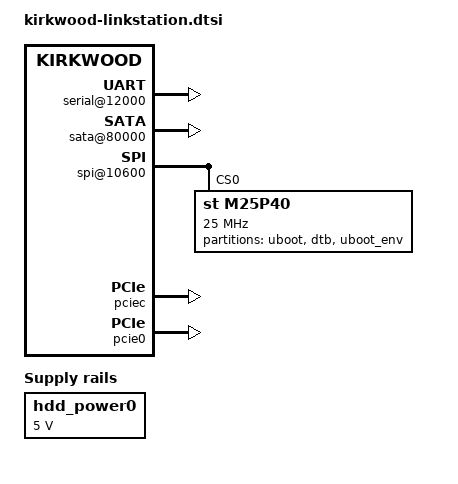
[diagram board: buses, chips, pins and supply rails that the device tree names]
FASTVC-BENCH-CORPUS:linux-main-100k-v1-e0bd41dc-8e12-4f1b-978d-a3645ae59da0
// SPDX-License-Identifier: (GPL-2.0+ OR MIT)
/*
 * Device Tree common file for kirkwood based Buffalo Linkstation
 *
 * Copyright (C) 2015, 2016
 * Roger Shimizu <rogershimizu@gmail.com>
 */

/ {
	chosen {
		bootargs = "console=ttyS0,115200n8 earlyprintk";
		stdout-path = &uart0;
	};

	ocp@f1000000 {
		pinctrl: pin-controller@10000 {
/* bench 19626.0.0 aab9ea4ece94 */
/* bench 19626.0.1 8a44a2ff989a */
/* bench 19626.0.2 b9a7bfb4d1c4 */
/* bench 19626.0.3 061c6ead9c01 */
/* bench 19626.0.4 f87bdc47531e */
/* bench 19626.0.5 6b605917b787 */
/* bench 19626.0.6 fa2251cfc9b2 */
/* bench 19626.0.7 679032252fd5 */
/* bench 19626.0.8 8103d15c40f4 */
/* bench 19626.0.9 076efb7b93a8 */
/* bench 19626.0.10 395176bb84d7 */
/* bench 19626.0.11 a3f1eb2f57df */
/* bench 19626.0.12 d7c3f6912321 */
/* bench 19626.0.13 58661adf6a8e */
			};
			pmx_usb_vbus: pmx-usb-vbus {
				marvell,function = "gpio";
			};
			pmx_led_alarm: pmx-led-alarm {
				marvell,function = "gpio";
			};
			pmx_led_function_red: pmx-led-function-red {
				marvell,function = "gpio";
			};
			pmx_led_function_blue: pmx-led-function-blue {
				marvell,function = "gpio";
			};
			pmx_led_info: pmx-led-info {
				marvell,function = "gpio";
			};
			pmx_led_power: pmx-led-power {
				marvell,function = "gpio";
			};
			pmx_button_function: pmx-button-function {
				marvell,function = "gpio";
			};
			pmx_power_switch: pmx-power-switch {
				marvell,function = "gpio";
			};
			pmx_power_auto_switch: pmx-power-auto-switch {
				marvell,function = "gpio";
			};
		};

		serial@12000 {
			status = "okay";
		};

		sata@80000 {
			status = "okay";
			nr-ports = <1>;
		};

		spi@10600 {
			status = "okay";

			m25p40@0 {
				#address-cells = <1>;
				#size-cells = <1>;
				compatible = "st,m25p40", "jedec,spi-nor";
				reg = <0>;
				spi-max-frequency = <25000000>;
				mode = <0>;

				partition@0 {
					reg = <0x0 0x60000>;
					label = "uboot";
					read-only;
				};

				partition@60000 {
					reg = <0x60000 0x10000>;
					label = "dtb";
					read-only;
				};

				partition@70000 {
					reg = <0x70000 0x10000>;
					label = "uboot_env";
				};
			};
		};
	};

	gpio_keys {
		compatible = "gpio-keys";
		#address-cells = <1>;
		#size-cells = <0>;
		pinctrl-0 = <&pmx_button_function &pmx_power_switch
			     &pmx_power_auto_switch>;
		pinctrl-names = "default";

		function-button {
/* bench 1093.0.0 310c4a68eb93 */
/* bench 1093.0.1 443a613c7a86 */
/* bench 1093.0.2 0c14cf7ae6df */
/* bench 1093.0.3 e83fa5b75bbb */
/* bench 1093.0.4 0676b668f4ab */
/* bench 1093.0.5 df704e00a1f0 */
/* bench 1093.0.6 2b9fd4a03bed */
/* bench 1093.0.7 16ab9f1973bb */
/* bench 1093.0.8 84ac7af5c0d8 */
/* bench 1093.0.9 40295a9109be */
/* bench 1093.0.10 3300f3643640 */
/* bench 1093.0.11 885d69b46162 */
/* bench 1093.0.12 dff566d840bc */
/* bench 1093.0.13 0c66c8c0c49f */
		};

		power-on-switch {
			label = "Power-on Switch";
			linux,code = <KEY_RESERVED>;
			linux,input-type = <5>;
		};

		power-auto-switch {
			label = "Power-auto Switch";
			linux,code = <KEY_ESC>;
			linux,input-type = <5>;
		};
	};

	gpio_leds {
		compatible = "gpio-leds";
		pinctrl-0 = <&pmx_led_function_red &pmx_led_alarm
			     &pmx_led_info &pmx_led_power
			     &pmx_led_function_blue>;
		pinctrl-names = "default";
	};

	restart_poweroff {
		compatible = "restart-poweroff";
	};

	regulators {
		compatible = "simple-bus";
		#address-cells = <1>;
		#size-cells = <0>;
		pinctrl-0 = <&pmx_power_hdd0 &pmx_usb_vbus>;
		pinctrl-names = "default";

		usb_power: regulator@1 {
/* bench 21315.2.0 f85a15827642 */
/* bench 21315.2.1 af9ecd25e69f */
/* bench 21315.2.2 a1ae8e0177f0 */
/* bench 21315.2.3 b143fbc61fb8 */
/* bench 21315.2.4 f37b5a466b90 */
			regulator-name = "USB Power";
			regulator-min-microvolt = <5000000>;
			regulator-max-microvolt = <5000000>;
			enable-active-high;
			regulator-always-on;
			regulator-boot-on;
		};

		hdd_power0: regulator@2 {
			compatible = "regulator-fixed";
			reg = <2>;
			regulator-name = "HDD0 Power";
			regulator-min-microvolt = <5000000>;
			regulator-max-microvolt = <5000000>;
			enable-active-high;
			regulator-always-on;
			regulator-boot-on;
		};
	};
};

&pciec {
        status = "okay";
};

&pcie0 {
	status = "okay";
};
